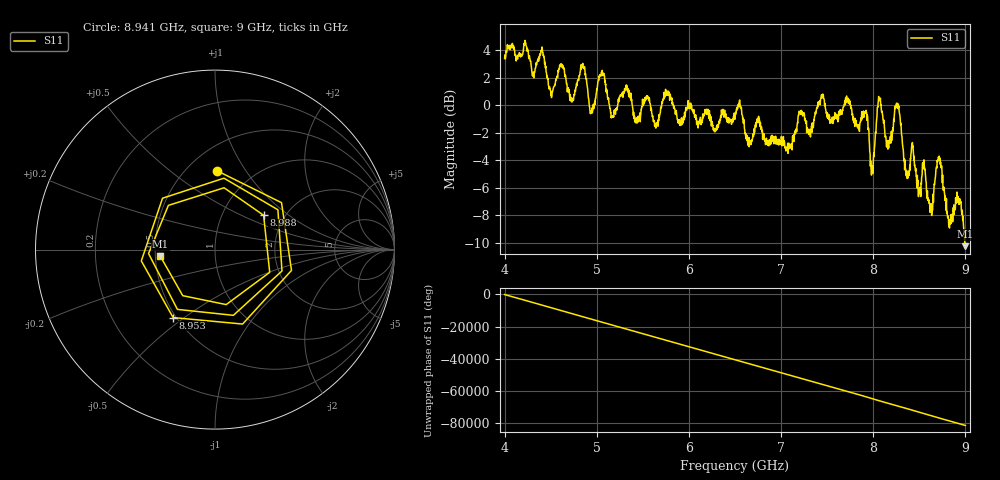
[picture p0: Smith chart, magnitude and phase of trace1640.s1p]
! Created with skrf 1.8.0 (http://scikit-rf.org).
# Hz S RI R 50.0
!freq ReS11 ImS11
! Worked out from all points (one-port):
!   1601 points, 4 GHz to 9 GHz, reference 50 ohm
!   lowest |S11| = -10.3 dB at 9 GHz (marker M1), VSWR 1.89, Z = 26.6 - j2.19 ohm
!   |S11| at or under -10 dB: 8.993373 GHz to end of sweep
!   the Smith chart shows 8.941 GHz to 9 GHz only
!   S11 on the Smith chart (normalised r, x): 8.941 GHz: 0.69, +0.75; 8.953 GHz: 0.48, -0.46; 8.988 GHz: 1.57, +0.67; 9 GHz: 0.53, -0.04
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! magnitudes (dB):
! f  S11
! 4 GHz  3.4
! 4.406 GHz  4.2
! 4.506 GHz  0.9
! 4.625 GHz  2.8
! 4.728 GHz  0.5
! 4.853 GHz  2.8
! 4.944 GHz  -0.6
! 5.053 GHz  2.4
! 5.162 GHz  -0.9
! 5.25 GHz  0.7
! 5.875 GHz  -1.1
! 6.5 GHz  -0.7
! 7.125 GHz  -2.3
! 7.75 GHz  0.0
! 7.916 GHz  -0.6
! 7.988 GHz  -4.6
! 8.062 GHz  0.3
! 8.166 GHz  -3.1
! 8.259 GHz  0.1
! 8.375 GHz  -5.1
! 8.428 GHz  -3.1
! 8.622 GHz  -7.4
! 8.719 GHz  -4.0
! 8.822 GHz  -8.8
! 8.941 GHz  -7.1
! 8.953 GHz  -7.0
! 8.988 GHz  -9.6
! 9 GHz  -10.3
